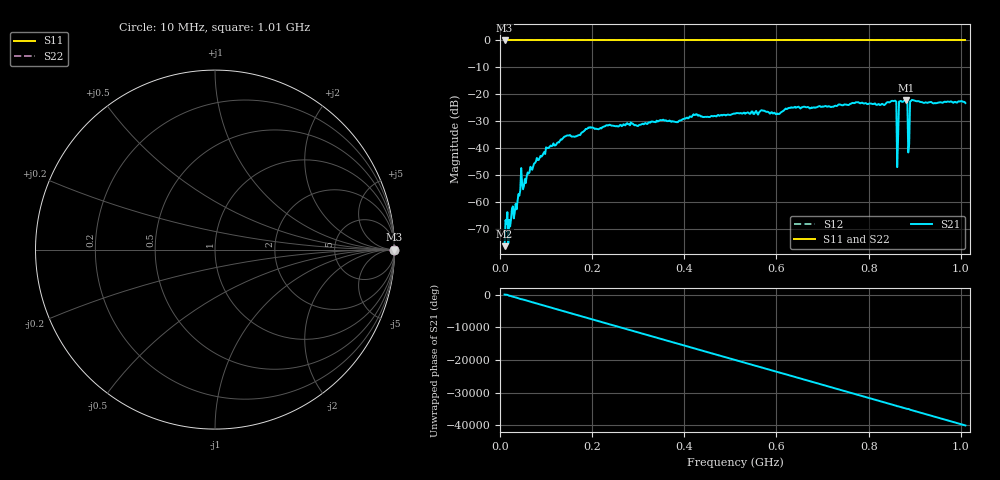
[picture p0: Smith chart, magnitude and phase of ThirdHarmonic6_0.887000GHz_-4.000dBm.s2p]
! 8/16/2025 5:10:15 AM
! C:\ANRITSUVNA\TEMP\TEMP.S2P
! CHANNEL.1
! TR.MEASUREMENT
! RAW.DATA
! RF.CORRECTION.OFF
! AVERAGING.OFF
! IF.BANDWIDTH: 5KHZ
! SWEEPTYPE:  FREQ.SWEEP(Linear)
! Reference Plane Port Info
! PORT:  PORT1  PORT2
! DISTANCE:  0  m  0  m
! TIME:  0  s  0  s
! PHASE.OFFSET:  0  deg.  0  deg.
! LOSS:  0  dB  0  dB
! REF.LOSS:  0  dB  0  dB
! REF.FREQ:  0  Hz  0  Hz
! Power Info
! POWER:  -20  dBm  -20  dBm
! EFF.POWER:  -20  dBm  -20  dBm
! SOURCE.ATTEN:  0  dB  0  dB
! TEST.ATTEN:  0  dB  0  dB
# GHZ S RI R 50.0
! FREQ.GHZ  S11RE  S11IM  S21RE  S21IM  S12RE  S12IM  S22RE  S22IM
!; PortSelection: Port_12
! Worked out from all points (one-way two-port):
!   501 points, 10 MHz to 1.01 GHz, reference 50 ohm
!   highest |S21| = -22.08 dB at 882 MHz (marker M1); lowest = -76.4 dB at 10 MHz (marker M2)
!   lowest |S11| = 0.0 dB at 10 MHz (marker M3)
!   |S11| at or under -10 dB: nowhere
!   |S22| runs from 0.0 to 0.0 dB; largest |S21 - S12| = 1.1
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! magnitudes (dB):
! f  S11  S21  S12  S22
! 10 MHz  0.0  -76.4  0.0  0.0
! 16 MHz  0.0  -63.8  0.0  0.0
! 22 MHz  0.0  -69.1  0.0  0.0
! 34 MHz  0.0  -60.7  0.0  0.0
! 44 MHz  0.0  -55.7  0.0  0.0
! 78 MHz  0.0  -45.0  0.0  0.0
! 142 MHz  0.0  -35.6  0.0  0.0
! 178 MHz  0.0  -34.1  0.0  0.0
! 344 MHz  0.0  -30.0  0.0  0.0
! 510 MHz  0.0  -27.2  0.0  0.0
! 678 MHz  0.0  -25.1  0.0  0.0
! 844 MHz  0.0  -23.0  0.0  0.0
! 856 MHz  0.0  -22.4  0.0  0.0
! 860 MHz  0.0  -22.8  0.0  0.0
! 866 MHz  0.0  -22.7  0.0  0.0
! 870 MHz  0.0  -22.5  0.0  0.0
! 880 MHz  0.0  -22.3  0.0  0.0
! 882 MHz  0.0  -22.1  0.0  0.0
! 884 MHz  0.0  -22.2  0.0  0.0
! 890 MHz  0.0  -22.7  0.0  0.0
! 894 MHz  0.0  -22.1  0.0  0.0
! 1.01 GHz  0.0  -23.3  0.0  0.0
